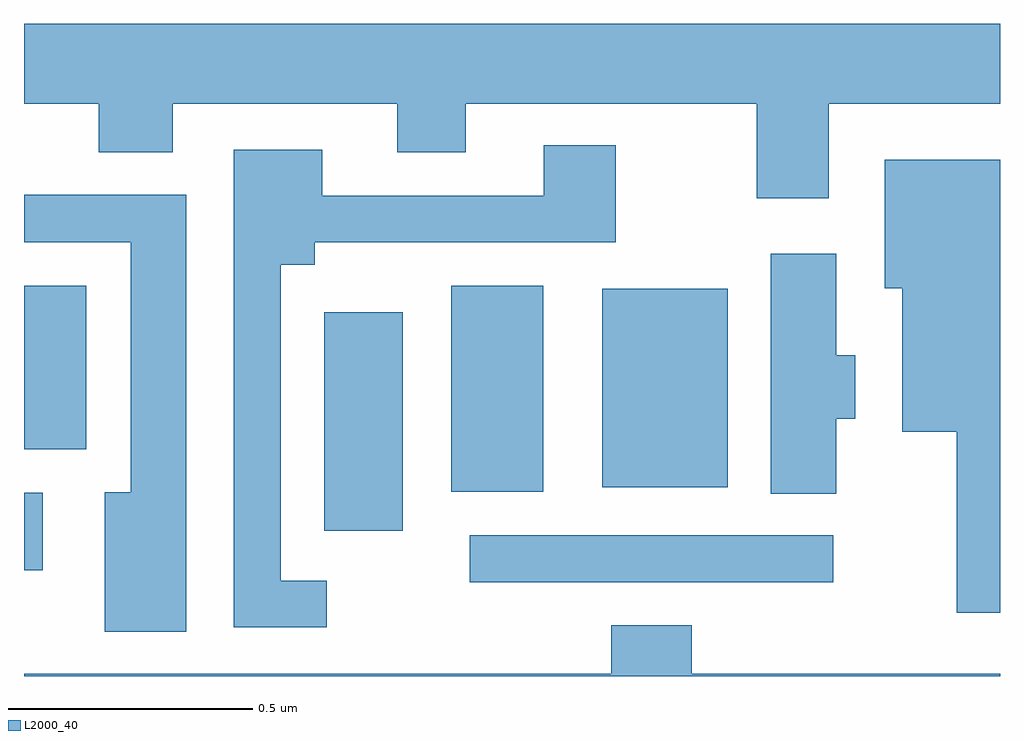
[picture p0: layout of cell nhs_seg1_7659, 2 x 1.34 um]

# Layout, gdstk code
import gdstk
lib = gdstk.Library(unit=1e-6, precision=1e-09)
def R(c, l, rs):  # rectangles x0, y0, x1, y1
    for r in rs: c.add(gdstk.rectangle(r[:2], r[2:], *l))
def P(c, l, *ps):  # polygons
    for p in ps: c.add(gdstk.Polygon(p, *l))
L2000_40 = (2000, 40)

nhs_seg1_7659 = lib.new_cell('nhs_seg1_7659')
R(nhs_seg1_7659, L2000_40, [(206.913,577.392,207.658,577.488), (206,577.416,206.038,577.575), (206.615,577.497,206.776,577.945), (206.876,577.577,207.064,577.999), (207.185,577.586,207.442,577.993), (206,577.664,206.128,577.999)])
P(nhs_seg1_7659, L2000_40, [(207.649,578.372),(208,578.372),(208,578.536),(206,578.536),(206,578.372),(206.153,578.372),(206.153,578.273),(206.305,578.273),(206.305,578.372),(206.765,578.372),(206.765,578.273),(206.905,578.273),(206.905,578.372),(207.502,578.372),(207.502,578.178),(207.649,578.178)],
  [(206.62,577.395),(206.526,577.395),(206.526,578.042),(206.596,578.042),(206.596,578.088),(207.213,578.088),(207.213,578.287),(207.065,578.287),(207.065,578.184),(206.611,578.184),(206.611,578.278),(206.43,578.278),(206.43,577.299),(206.62,577.299)],
  [(208,578.257),(207.764,578.257),(207.764,577.994),(207.8,577.994),(207.8,577.7),(207.911,577.7),(207.911,577.329),(208,577.329)],
  [(206.332,578.186),(206,578.186),(206,578.088),(206.219,578.088),(206.219,577.576),(206.165,577.576),(206.165,577.29),(206.332,577.29)],
  [(207.664,577.727),(207.703,577.727),(207.703,577.857),(207.664,577.857),(207.664,578.065),(207.53,578.065),(207.53,577.573),(207.664,577.573)],
  [(208,577.204),(207.368,577.204),(207.368,577.303),(207.203,577.303),(207.203,577.204),(206,577.204),(206,577.199),(208,577.199)])

lib.write_gds('nhs_seg1_7659.gds')
